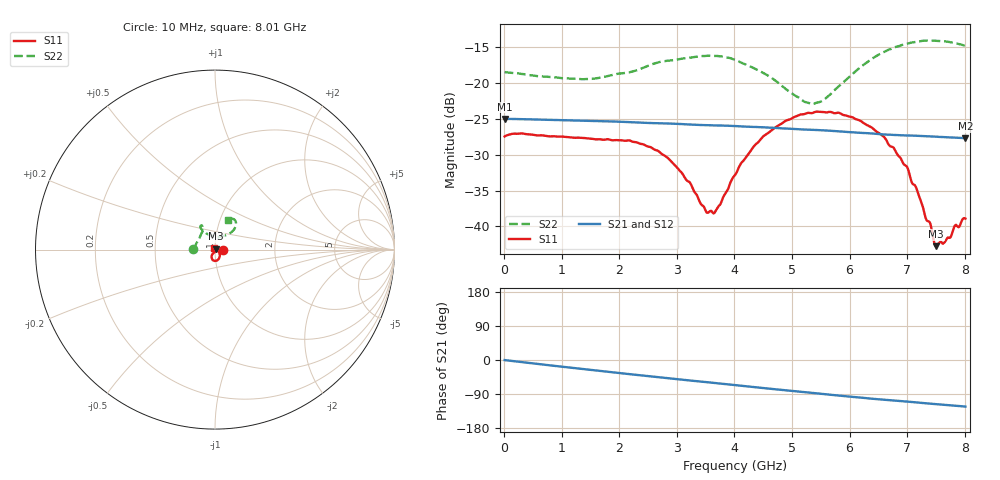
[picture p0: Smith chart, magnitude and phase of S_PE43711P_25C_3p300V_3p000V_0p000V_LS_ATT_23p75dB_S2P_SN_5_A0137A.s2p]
! Device ID: PE43711P
! File Path: z:\PE43711P\CHAR_NOM_04282014\AMB\3p300\LS_ATT_23p75dB\PE43711P_AMB_3p300V_3p000V_0p000V_LS_ATT_23p75dB_S2P_SN_5_A0137A.s2p
! Serial: 5
! Lot: A0137A
! Temp: 25C
! VDD: 3.300
! VSS: 0.000
! Control_Hi: 3.000
! Control_Lo: 0.000
! Attenuation Step: 23.75dB
! Port 1: RF1
! Port 2: RF2
! ThroughPath:1-2
! IDD: 0.0001278985
! ISS: -4.98e-008
#  Hz  S  RI  R  50
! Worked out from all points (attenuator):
!   801 points, 10 MHz to 8.01 GHz, reference 50 ohm
!   highest |S21| = -24.98 dB at 10 MHz (marker M1); lowest = -27.7 dB at 8.01 GHz (marker M2)
!   lowest |S11| = -42.8 dB at 7.5 GHz (marker M3), VSWR 1.01, Z = 50.6 + j0.439 ohm
!   |S11| at or under -10 dB: start of sweep to end of sweep
!   |S22| runs from -22.9 to -14.0 dB; largest |S21 - S12| = 0.00013
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1e7  0.0425 0.000303  0.0564 -0.000241  0.0564 -0.000271  -0.1199 0.000939
1.35e9  0.0403 -0.00999  0.0503 -0.0218  0.0503 -0.0218  -0.0929 0.0526
2.18e9  0.0384 -0.0106  0.0425 -0.0325  0.0426 -0.0324  -0.0723 0.0949
2.68e9  0.0325 -0.00811  0.037 -0.0373  0.037 -0.0373  -0.0694 0.1218
3.07e9  0.0229 -0.00732  0.0322 -0.0407  0.0322 -0.0407  -0.0707 0.1301
3.54e9  0.00621 -0.0108  0.0264 -0.0435  0.0264 -0.0435  -0.077 0.1353
3.68e9  0.000985 -0.0129  0.0246 -0.0443  0.0246 -0.0444  -0.0791 0.1336
4.01e9  -0.01 -0.0205  0.0202 -0.0459  0.0202 -0.046  -0.0804 0.1216
4.32e9  -0.0175 -0.0309  0.0161 -0.0469  0.0161 -0.0469  -0.0699 0.1078
4.52e9  -0.019 -0.0387  0.0133 -0.0474  0.0133 -0.0474  -0.0605 0.1003
4.9e9  -0.0166 -0.0523  0.00826 -0.0475  0.00823 -0.0476  -0.036 0.0831
5.35e9  -0.00586 -0.0616  0.00261 -0.0472  0.00262 -0.0472  0.00514 0.0713
5.56e9  0.00177 -0.0628  -1.87e-05 -0.0468  -2.11e-05 -0.0468  0.0282 0.0717
6.05e9  0.0188 -0.0547  -0.00581 -0.045  -0.00584 -0.045  0.0771 0.0869
6.4e9  0.0258 -0.041  -0.00946 -0.0435  -0.00949 -0.0436  0.1032 0.1081
6.68e9  0.0261 -0.0264  -0.0119 -0.0421  -0.0119 -0.0421  0.1139 0.1286
7e9  0.0227 -0.0125  -0.0146 -0.0406  -0.0146 -0.0407  0.1172 0.1485
7.18e9  0.0168 -0.00469  -0.0162 -0.0397  -0.0162 -0.0397  0.1141 0.1589
7.5e9  0.00582 0.00434  -0.0189 -0.0378  -0.0189 -0.0379  0.1006 0.1709
7.65e9  0.000391 0.00773  -0.02 -0.0369  -0.02 -0.0369  0.0928 0.1733
7.83e9  -0.00476 0.00895  -0.0213 -0.0358  -0.0213 -0.0359  0.0826 0.1722
8.01e9  -0.00792 0.00809  -0.0224 -0.0347  -0.0226 -0.0347  0.0748 0.1664
